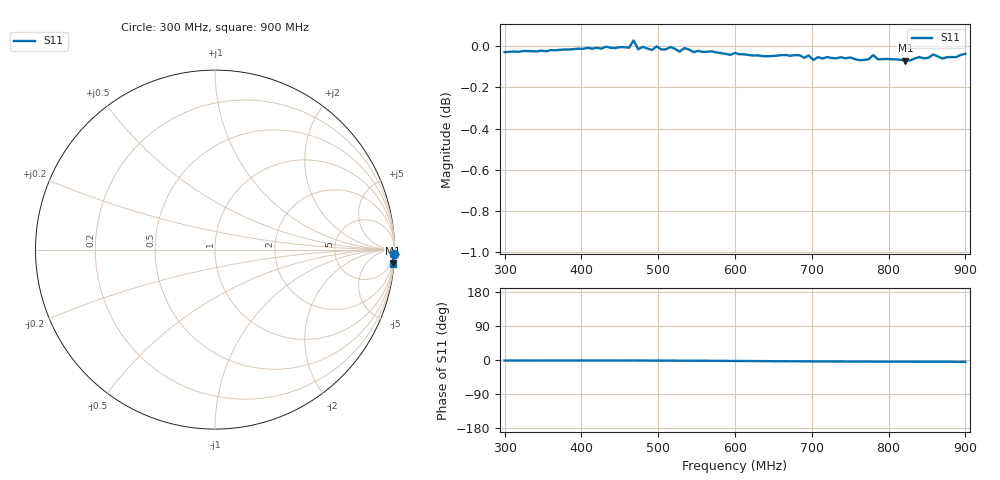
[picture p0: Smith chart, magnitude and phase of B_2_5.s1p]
# HZ S RI R 50
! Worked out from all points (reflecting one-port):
!   101 points, 300 MHz to 900 MHz, reference 50 ohm
!   lowest |S11| = -0.1 dB at 822 MHz (marker M1), VSWR 250.92, Z = 136 - j1.3e+03 ohm
!   phase of S11 starts at -1 deg and turns -3 deg over the sweep
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3e8  0.9965 -0.0241
3.78e8  0.998 -0.0219
4.5e8  0.9993 -0.0232
4.62e8  0.999 -0.024
4.68e8  1.003 -0.0196
4.74e8  0.9981 -0.0251
5.16e8  0.9992 -0.0292
5.28e8  0.9965 -0.0316
5.34e8  0.9985 -0.0314
5.46e8  0.9961 -0.0349
6e8  0.9953 -0.0436
6.48e8  0.993 -0.0557
6.78e8  0.9933 -0.0596
6.9e8  0.9917 -0.0627
6.96e8  0.993 -0.0618
7.02e8  0.9902 -0.0663
7.14e8  0.9911 -0.0647
7.5e8  0.9914 -0.0694
7.68e8  0.9899 -0.0714
7.8e8  0.9923 -0.0741
7.86e8  0.9902 -0.0723
8.22e8  0.9892 -0.0755
8.28e8  0.9893 -0.075
8.46e8  0.9901 -0.0791
8.58e8  0.9924 -0.0784
8.76e8  0.9908 -0.0783
8.88e8  0.9906 -0.0822
9e8  0.9925 -0.0807
